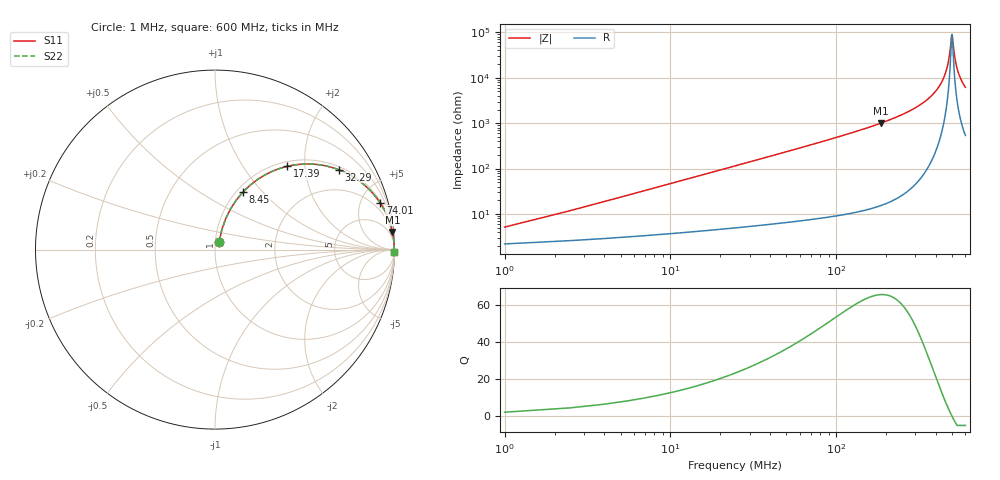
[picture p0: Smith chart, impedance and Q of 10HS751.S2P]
! Coilcraft 1008CS-751 Chip Inductor
! 02 July 2002
# MHZ S MA R 50
!Freq  MagS11  AngS11  MagS21  AngS21  MagS12  AngS12  MagS22  AngS22
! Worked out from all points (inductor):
!   404 points, 1 MHz to 600 MHz, reference 50 ohm
!   read as one part in series: L = 740 nH near 3.98 MHz
!   highest Q = 65.4 at 185.8 MHz (marker M1), where L = 860 nH
!   self-resonance near 497.2 MHz
!   S11 on the Smith chart (normalised r, x): 1 MHz: 1.04, +0.09; 8.45 MHz: 1.07, +0.79; 17.39 MHz: 1.09, +1.62; 32.29 MHz: 1.11, +3.02; 74.01 MHz: 1.15, +7.04; 600 MHz: open
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1  0.05024 62.2  0.9776 -2.6  0.9776 -2.6  0.05024 62.2
5.47  0.2413 69.2  0.9416 -13.9  0.9416 -13.9  0.2413 69.2
8.45  0.3564 64.1  0.9032 -20.8  0.9032 -20.8  0.3564 64.1
12.92  0.5016 56.2  0.8326 -30.0  0.8326 -30.0  0.5016 56.2
17.39  0.6137 49.1  0.757 -37.8  0.757 -37.8  0.6137 49.1
32.29  0.82 32.9  0.5435 -55.0  0.5435 -55.0  0.82 32.9
48.68  0.9069 23.4  0.3967 -65.0  0.3967 -65.0  0.9069 23.4
74.01  0.9564 15.8  0.2717 -73.0  0.2717 -73.0  0.9564 15.8
102.32  0.9768 11.3  0.1966 -77.6  0.1966 -77.6  0.9768 11.3
185.76  0.9936 5.7  0.09903 -83.4  0.09903 -83.4  0.9936 5.7
202.15  0.9947 5.1  0.08839 -84.0  0.08839 -84.0  0.9947 5.1
301.98  0.9981 2.6  0.04496 -86.2  0.04496 -86.2  0.9981 2.6
401.81  0.9989 1.1  0.01869 -86.1  0.01869 -86.1  0.9989 1.1
434.59  0.999 0.7  0.01184 -84.6  0.01184 -84.6  0.999 0.7
459.92  0.999 0.4  0.006963 -81.2  0.006963 -81.2  0.999 0.4
479.29  0.9989 0.2  0.003489 -72.1  0.003489 -72.1  0.9989 0.2
495.68  0.9989 0.0  0.001179 -21.0  0.001179 -21.0  0.9989 0.0
501.64  0.9989 -0.0  0.00127 28.5  0.00127 28.5  0.9989 -0.0
516.54  0.9988 -0.2  0.003337 69.6  0.003337 69.6  0.9988 -0.2
534.42  0.9988 -0.3  0.006187 78.5  0.006187 78.5  0.9988 -0.3
561.24  0.9987 -0.6  0.01039 82.3  0.01039 82.3  0.9987 -0.6
600  0.9985 -0.9  0.01619 84.1  0.01619 84.1  0.9985 -0.9
